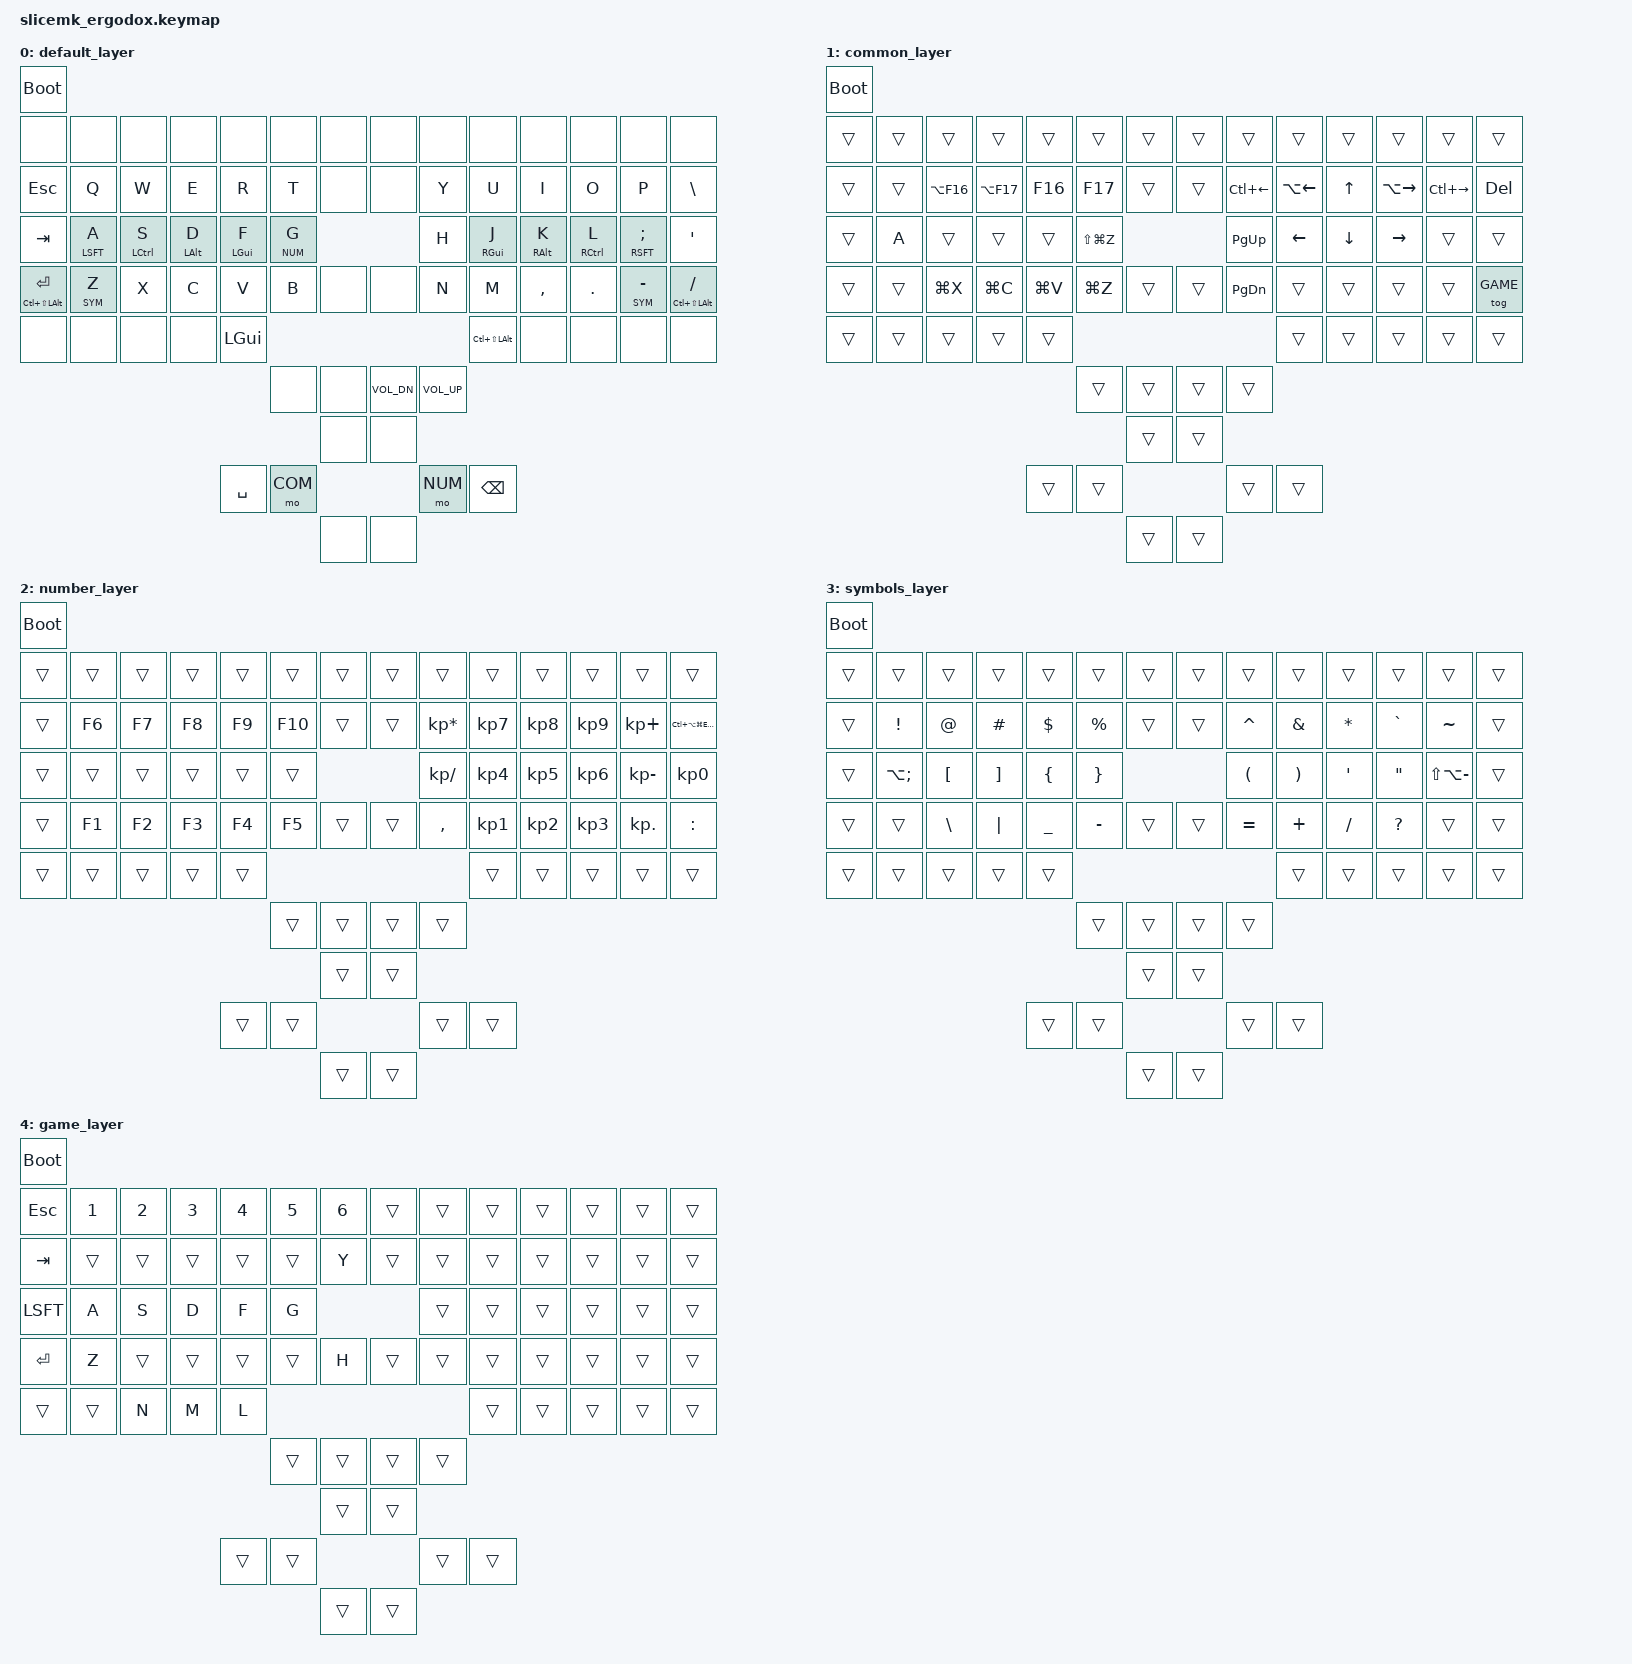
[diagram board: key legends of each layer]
#include <behaviors.dtsi>
#include <dt-bindings/zmk/bt.h>
#include <dt-bindings/zmk/keys.h>
#include <dt-bindings/zmk/outputs.h>

#define COM 1
#define NUM 2
#define SYM 3
#define GAME 4
#define MEH LC(LS(LALT))
#define VOL_DN C_VOL_DN
#define VOL_UP C_VOL_UP
#define END_CALL LC(LA(LG(END)))

&mt {
    tapping_term_ms = <200>;
};


/ {

        behaviors {
            hm: homerow_mods {
                    compatible = "zmk,behavior-hold-tap";
                    label = "HOMEROW_MODS";
                    #binding-cells = <2>;
                    tapping-term-ms = <200>;
                    flavor = "tap-preferred";
                    bindings = <&kp>, <&kp>;
            };
        };

        keymap {
                compatible = "zmk,keymap";

                default_layer {
                        bindings = <
    &bootloader
    &none       &none      &none       &none       &none      &none      &none      &none       &none        &none      &none      &none       &none          &none
    &kp ESC     &kp Q      &kp W       &kp E       &kp R      &kp T      &none      &none       &kp Y        &kp U      &kp I      &kp O       &kp P          &kp BSLH
    &kp TAB     &hm LSFT A &hm LCTRL S &hm LALT D  &hm LGUI F &lt NUM G                         &kp H        &hm RGUI J &hm RALT K &hm RCTRL L &hm RSFT SCLN  &kp SQT
    &hm MEH RET &lt SYM Z  &kp X       &kp C       &kp V      &kp B      &none      &none       &kp N        &kp M      &kp CMMA   &kp DOT     &lt SYM MINUS  &hm MEH SLASH
    &none       &none      &none       &none       &kp LGUI                                                  &kp MEH    &none      &none       &none          &none
                                                              &none      &none      &kp VOL_DN  &kp VOL_UP 
                                                                         &none      &none
                                                   &kp SPC    &mo COM                           &mo NUM      &kp BKSP
                                                                         &none      &none
                        >;
                };

                common_layer {
                        bindings = <
    &bootloader
    &trans     &trans     &trans      &trans      &trans     &trans        &trans      &trans      &trans        &trans        &trans      &trans        &trans        &trans
    &trans     &trans     &kp LA(F16) &kp LA(F17) &kp F16    &kp F17       &trans      &trans      &kp LC(LEFT)  &kp LA(LEFT)  &kp UP      &kp LA(RIGHT) &kp LC(RIGHT) &kp DEL
    &trans     &kp A      &trans      &trans      &trans     &kp LS(LG(Z))                         &kp PG_UP     &kp LEFT      &kp DOWN    &kp RIGHT     &trans        &trans
    &trans     &trans     &kp LG(X)   &kp LG(C)   &kp LG(V)  &kp LG(Z)     &trans      &trans      &kp PG_DN     &trans        &trans      &trans        &trans        &tog GAME
    &trans     &trans     &trans      &trans      &trans                                                         &trans        &trans      &trans        &trans        &trans
                                                             &trans        &trans      &trans      &trans
                                                                           &trans      &trans
                                                  &trans     &trans                                &trans      &trans
                                                                           &trans      &trans
                        >;
                };

                number_layer {
                        bindings = <
    &bootloader
    &trans     &trans     &trans     &trans     &trans     &trans     &trans      &trans      &trans          &trans      &trans      &trans      &trans       &trans
    &trans     &kp F6     &kp F7     &kp F8     &kp F9     &kp F10    &trans      &trans      &kp KP_ASTERISK &kp KP_N7   &kp KP_N8   &kp KP_N9   &kp KP_PLUS  &kp END_CALL
    &trans     &trans     &trans     &trans     &trans     &trans                             &kp KP_SLASH    &kp KP_N4   &kp KP_N5   &kp KP_N6   &kp KP_MINUS &kp KP_N0
    &trans     &kp F1     &kp F2     &kp F3     &kp F4     &kp F5     &trans      &trans      &kp CMMA        &kp KP_N1   &kp KP_N2   &kp KP_N3   &kp KP_DOT   &kp COLON
    &trans     &trans     &trans     &trans     &trans                                                        &trans      &trans      &trans      &trans       &trans
                                                           &trans     &trans      &trans      &trans
                                                                      &trans      &trans
                                                &trans     &trans                             &trans      &trans
                                                                      &trans      &trans
                        >;
                };

                symbols_layer {
                        bindings = <
    &bootloader
    &trans      &trans       &trans       &trans      &trans      &trans        &trans     &trans     &trans           &trans       &trans       &trans        &trans            &trans
    &trans      &kp EXCL     &kp AT       &kp HASH    &kp DLLR    &kp PRCNT     &trans     &trans     &kp CARET        &kp AMPS     &kp STAR     &kp GRAVE     &kp TILDE         &trans   
    &trans      &kp LA(SEMI) &kp LBKT     &kp RBKT    &kp LBRC    &kp RBRC                            &kp LPAR         &kp RPAR     &kp SQT      &kp DQT       &kp LS(LA(MINUS)) &trans  
    &trans      &trans       &kp BSLH     &kp PIPE    &kp UNDER   &kp MINUS     &trans     &trans     &kp EQUAL        &kp PLUS     &kp SLASH    &kp QMARK     &trans            &trans
    &trans      &trans       &trans       &trans      &trans                                                           &trans       &trans       &trans        &trans            &trans
                                                                  &trans        &trans     &trans     &trans
                                                                                &trans     &trans
                                                      &trans      &trans                              &trans           &trans
                                                                                &trans     &trans
                        >;
                };

                game_layer {
                        bindings = <
    &bootloader
    &kp ESC     &kp N1       &kp N2       &kp N3      &kp N4      &kp N5        &kp N6     &trans     &trans           &trans       &trans       &trans        &trans            &trans
    &kp TAB     &trans       &trans       &trans      &trans      &trans        &kp Y      &trans     &trans           &trans       &trans       &trans        &trans            &trans   
    &kp LSFT    &kp A        &kp S        &kp D       &kp F       &kp G                               &trans           &trans       &trans       &trans        &trans            &trans  
    &kp RET     &kp Z        &trans       &trans      &trans      &trans        &kp H      &trans     &trans           &trans       &trans       &trans        &trans            &trans
    &trans      &trans       &kp N        &kp M       &kp L                                                            &trans       &trans       &trans        &trans            &trans
                                                                  &trans        &trans     &trans     &trans
                                                                                &trans     &trans
                                                      &trans      &trans                              &trans           &trans
                                                                                &trans     &trans
                        >;
                };

        };
};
